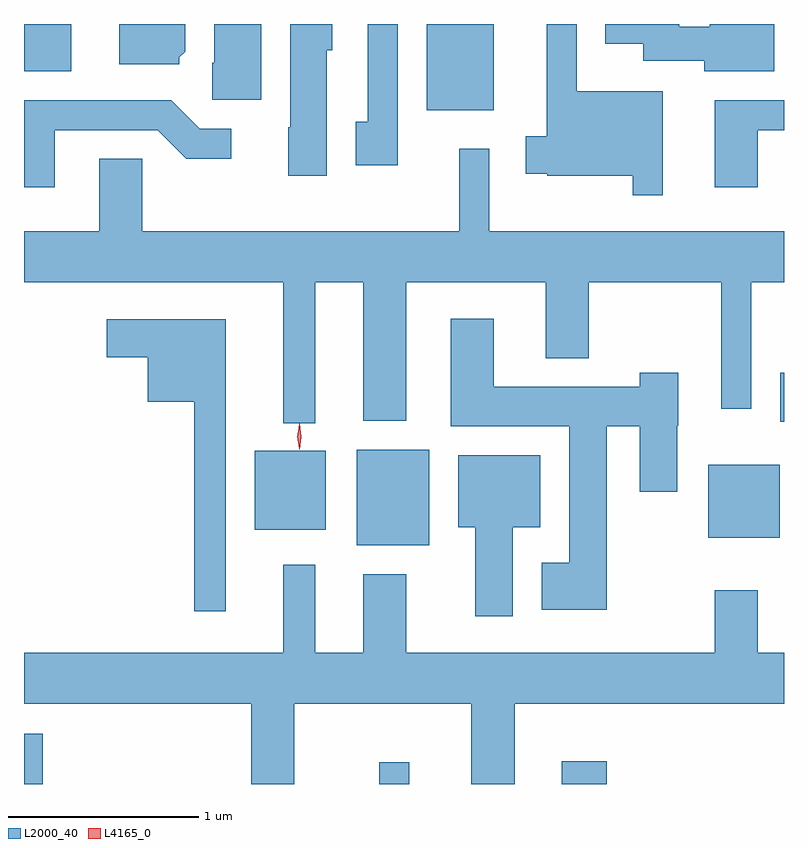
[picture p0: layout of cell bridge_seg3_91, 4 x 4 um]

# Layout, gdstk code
import gdstk
lib = gdstk.Library(unit=1e-6, precision=1e-09)
def R(c, l, rs):  # rectangles x0, y0, x1, y1
    for r in rs: c.add(gdstk.rectangle(r[:2], r[2:], *l))
def P(c, l, *ps):  # polygons
    for p in ps: c.add(gdstk.Polygon(p, *l))
L2000_40 = (2000, 40)
L4165_0 = (4165, 0)

bridge_seg3_91 = lib.new_cell('bridge_seg3_91')
R(bridge_seg3_91, L2000_40, [(1176.646,1121.154,1176.744,1121.419), (1178.516,1121.154,1178.674,1121.268), (1179.476,1121.154,1179.714,1121.274), (1178.396,1122.411,1178.779,1122.914), (1180.246,1122.451,1180.624,1122.834), (1177.861,1122.491,1178.234,1122.909), (1180.626,1123.061,1180.646,1123.319), (1178.766,1124.701,1179.119,1125.154), (1176.646,1124.906,1176.894,1125.154)])
P(bridge_seg3_91, L2000_40, [(1180.594,1125.154),(1180.256,1125.154),(1180.256,1125.139),(1180.094,1125.139),(1180.094,1125.154),(1179.706,1125.154),(1179.706,1125.051),(1179.906,1125.051),(1179.906,1124.961),(1180.226,1124.961),(1180.226,1124.906),(1180.594,1124.906)],
  [(1177.464,1124.979),(1177.494,1125.009),(1177.494,1125.154),(1177.146,1125.154),(1177.146,1124.941),(1177.464,1124.941)],
  [(1177.894,1125.154),(1177.646,1125.154),(1177.646,1124.95),(1177.636,1124.95),(1177.636,1124.756),(1177.894,1124.756)],
  [(1178.614,1125.154),(1178.456,1125.154),(1178.456,1124.639),(1178.391,1124.639),(1178.391,1124.411),(1178.614,1124.411)],
  [(1180.009,1124.799),(1179.554,1124.799),(1179.554,1125.154),(1179.396,1125.154),(1179.396,1124.564),(1179.286,1124.564),(1179.286,1124.366),(1179.4,1124.366),(1179.4,1124.356),(1179.851,1124.356),(1179.851,1124.253),(1180.009,1124.253)],
  [(1178.239,1125.016),(1178.269,1125.016),(1178.269,1125.154),(1178.046,1125.154),(1178.046,1124.61),(1178.036,1124.61),(1178.036,1124.356),(1178.239,1124.356)],
  [(1176.809,1124.596),(1177.349,1124.596),(1177.499,1124.446),(1177.738,1124.446),(1177.738,1124.604),(1177.572,1124.604),(1177.422,1124.754),(1176.646,1124.754),(1176.646,1124.296),(1176.809,1124.296)],
  [(1180.509,1124.596),(1180.646,1124.596),(1180.646,1124.754),(1180.281,1124.754),(1180.281,1124.296),(1180.509,1124.296)],
  [(1178.179,1123.796),(1178.431,1123.796),(1178.431,1123.066),(1178.659,1123.066),(1178.659,1123.796),(1179.391,1123.796),(1179.391,1123.396),(1179.619,1123.396),(1179.619,1123.796),(1180.316,1123.796),(1180.316,1123.128),(1180.474,1123.128),(1180.474,1123.796),(1180.646,1123.796),(1180.646,1124.064),(1179.094,1124.064),(1179.094,1124.498),(1178.936,1124.498),(1178.936,1124.064),(1177.269,1124.064),(1177.269,1124.444),(1177.041,1124.444),(1177.041,1124.064),(1176.646,1124.064),(1176.646,1123.796),(1178.011,1123.796),(1178.011,1123.053),(1178.179,1123.053)],
  [(1179.714,1123.036),(1179.886,1123.036),(1179.886,1122.691),(1180.084,1122.691),(1180.084,1123.04),(1180.089,1123.04),(1180.089,1123.319),(1179.886,1123.319),(1179.886,1123.244),(1179.119,1123.244),(1179.119,1123.604),(1178.891,1123.604),(1178.891,1123.036),(1179.516,1123.036),(1179.516,1122.319),(1179.371,1122.319),(1179.371,1122.071),(1179.714,1122.071)],
  [(1177.709,1123.599),(1177.081,1123.599),(1177.081,1123.401),(1177.296,1123.401),(1177.296,1123.166),(1177.541,1123.166),(1177.541,1122.063),(1177.709,1122.063)],
  [(1179.219,1122.506),(1179.364,1122.506),(1179.364,1122.884),(1178.931,1122.884),(1178.931,1122.506),(1179.021,1122.506),(1179.021,1122.036),(1179.219,1122.036)],
  [(1178.069,1121.576),(1179.001,1121.576),(1179.001,1121.154),(1179.229,1121.154),(1179.229,1121.576),(1180.646,1121.576),(1180.646,1121.844),(1180.509,1121.844),(1180.509,1122.174),(1180.281,1122.174),(1180.281,1121.844),(1178.659,1121.844),(1178.659,1122.259),(1178.431,1122.259),(1178.431,1121.844),(1178.179,1121.844),(1178.179,1122.308),(1178.011,1122.308),(1178.011,1121.844),(1176.646,1121.844),(1176.646,1121.576),(1177.841,1121.576),(1177.841,1121.154),(1178.069,1121.154)])
P(bridge_seg3_91, L4165_0, [(1178.094,1122.918),(1178.085,1122.982),(1178.094,1123.046),(1178.095,1123.047),(1178.096,1123.046),(1178.105,1122.982),(1178.096,1122.918),(1178.095,1122.918)],
  [(1178.096,1122.914),(1178.096,1122.914),(1178.086,1122.982),(1178.095,1123.05),(1178.096,1123.05),(1178.096,1123.05),(1178.106,1122.982),(1178.096,1122.914)])

lib.write_gds('bridge_seg3_91.gds')
